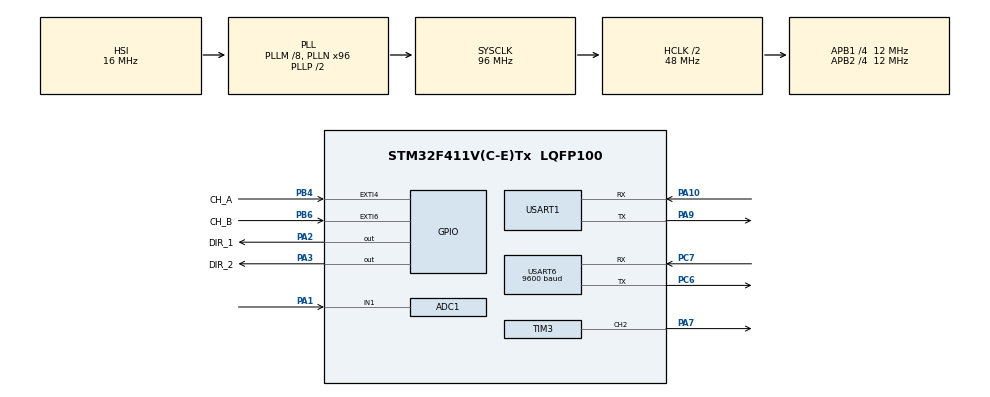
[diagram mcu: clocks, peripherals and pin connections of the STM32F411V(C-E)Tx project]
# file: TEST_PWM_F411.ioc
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ADC1.Channel-1\#ChannelRegularConversion=ADC_CHANNEL_1
ADC1.NbrOfConversionFlag=1
ADC1.Rank-1\#ChannelRegularConversion=1
ADC1.SamplingTime-1\#ChannelRegularConversion=ADC_SAMPLETIME_3CYCLES
ADC1.master=1
Mcu.Family=STM32F4
Mcu.Name=STM32F411V(C-E)Tx
Mcu.Package=LQFP100
NVIC.EXTI4_IRQn=true\:0\:0\:false\:false\:true\:true\:true\:true
NVIC.EXTI9_5_IRQn=true\:0\:0\:false\:false\:true\:true\:true\:true
NVIC.PriorityGroup=NVIC_PRIORITYGROUP_4
NVIC.TIM2_IRQn=true\:0\:0\:false\:false\:true\:true\:true\:true
NVIC.TIM4_IRQn=true\:0\:0\:false\:false\:true\:true\:true\:true
NVIC.USART6_IRQn=true\:0\:0\:false\:false\:true\:true\:true\:true
PA1.Signal=ADCx_IN1
PA10.Mode=Asynchronous
PA10.Signal=USART1_RX
PA13.Mode=Serial_Wire
PA13.Signal=SYS_JTMS-SWDIO
PA14.Mode=Serial_Wire
PA14.Signal=SYS_JTCK-SWCLK
PA2.GPIO_Label=DIR_1
PA2.Signal=GPIO_Output
PA3.GPIO_Label=DIR_2
PA3.Signal=GPIO_Output
PA7.Signal=S_TIM3_CH2
PA9.Mode=Asynchronous
PA9.Signal=USART1_TX
PB4.GPIO_Label=CH_A
PB4.GPIO_ModeDefaultEXTI=GPIO_MODE_IT_RISING_FALLING
PB4.Signal=GPXTI4
PB6.GPIO_Label=CH_B
PB6.GPIO_ModeDefaultEXTI=GPIO_MODE_IT_RISING_FALLING
PB6.Signal=GPXTI6
PC6.Mode=Asynchronous
PC6.Signal=USART6_TX
PC7.Mode=Asynchronous
PC7.Signal=USART6_RX
PH0\ -\ OSC_IN.Mode=HSE-External-Oscillator
PH0\ -\ OSC_IN.Signal=RCC_OSC_IN
PH1\ -\ OSC_OUT.Mode=HSE-External-Oscillator
PH1\ -\ OSC_OUT.Signal=RCC_OSC_OUT
ProjectManager.HeapSize=0x200
ProjectManager.StackSize=0x400
ProjectManager.TargetToolchain=MDK-ARM V5
RCC.48MHZClocksFreq_Value=48000000
RCC.AHBCLKDivider=RCC_SYSCLK_DIV2
RCC.AHBFreq_Value=48000000
RCC.APB1CLKDivider=RCC_HCLK_DIV4
RCC.APB1Freq_Value=12000000
RCC.APB1TimFreq_Value=24000000
RCC.APB2CLKDivider=RCC_HCLK_DIV4
RCC.APB2Freq_Value=12000000
RCC.APB2TimFreq_Value=24000000
RCC.CortexFreq_Value=48000000
RCC.HCLKFreq_Value=48000000
RCC.HSE_VALUE=25000000
RCC.HSI_VALUE=16000000
RCC.LSE_VALUE=32768
RCC.PLLM=8
RCC.PLLN=96
RCC.SYSCLKFreq_VALUE=96000000
RCC.SYSCLKSource=RCC_SYSCLKSOURCE_PLLCLK
RCC.VCOOutputFreq_Value=192000000
SH.ADCx_IN1.0=ADC1_IN1,IN1
SH.S_TIM3_CH2.0=TIM3_CH2,PWM Generation2 CH2
TIM2.Period=4
TIM2.Prescaler=23999
TIM3.Channel-PWM\ Generation2\ CH2=TIM_CHANNEL_2
TIM3.Period=100
TIM3.Prescaler=11
TIM4.Period=9999
TIM4.Prescaler=1199
USART1.VirtualMode=VM_ASYNC
USART6.BaudRate=9600
USART6.VirtualMode=VM_ASYNC
VP_TIM2_VS_ClockSourceINT.Mode=Internal
VP_TIM4_VS_ClockSourceINT.Mode=Internal
board=custom

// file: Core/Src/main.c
/* USER CODE BEGIN Header */
/**
  ******************************************************************************
  * @file           : main.c
  * @brief          : Main program body
  ******************************************************************************
  * @attention
  *
  * Copyright (c) 2024 STMicroelectronics.
  * All rights reserved.
  *
  * This software is licensed under terms that can be found in the LICENSE file
  * in the root directory of this software component.
  * If no LICENSE file comes with this software, it is provided AS-IS.
  *
  ******************************************************************************
  */
/* USER CODE END Header */
#include "main.h"

/* USER CODE BEGIN Includes */
#include "DC_Driver.h"
#include "stdio.h"
/* USER CODE END Includes */

/* USER CODE BEGIN PD */
int pwm;
uint32_t adc;
/* USER CODE END PD */

ADC_HandleTypeDef hadc1;

TIM_HandleTypeDef htim2;
TIM_HandleTypeDef htim3;
TIM_HandleTypeDef htim4;

UART_HandleTypeDef huart1;
UART_HandleTypeDef huart6;

/* USER CODE BEGIN PV */
struct __FILE
{
  int handle;
  /* Whatever you require here. If the only file you are using is */
  /* standard output using printf() for debugging, no file handling */
  /* is required. */
};
/* FILE is typedefТd in stdio.h. */
FILE __stdout;
int fputc(int ch, FILE *f)
{
  HAL_UART_Transmit(&huart6, (uint8_t *)&ch, 1, 100);
  return ch;
}
/* USER CODE END PV */

void SystemClock_Config(void);
static void MX_GPIO_Init(void);
static void MX_TIM3_Init(void);
static void MX_TIM2_Init(void);
static void MX_USART6_UART_Init(void);
static void MX_TIM4_Init(void);
static void MX_USART1_UART_Init(void);
static void MX_ADC1_Init(void);
/* USER CODE BEGIN PFP */
pid_specifications pidSpeed;

void HAL_TIM_PeriodElapsedCallback(TIM_HandleTypeDef *htim)
{
 if(htim->Instance == htim2.Instance) {
//	if(pidSpeed.real_position < 1000) {
//		control_motor_follow_vel_and_pos(&pidSpeed, 15, 10, 0);
//	} else {
//		control_motor_follow_vel_and_pos(&pidSpeed, 0, 10, 0);
//	}
//		static int i = 0;
//		if(i == 10) {
//			i = 10;
//		}else {
//			i++;
//		}
	 caculate_position(&pidSpeed);
	 control_motor_follow_vel_and_pos(&pidSpeed, pwm);
 }
 if(htim->Instance == htim4.Instance) {
		printf("%0.0f ", pidSpeed.real_velocity);
	 printf("%0.0f\n", pidSpeed.real_position);

 }
}

/* USER CODE END PFP */

int main(void)
{

  /* MCU Configuration--------------------------------------------------------*/

  /* Reset of all peripherals, Initializes the Flash interface and the Systick. */
  HAL_Init();

  /* Configure the system clock */
  SystemClock_Config();

  /* Initialize all configured peripherals */
  MX_GPIO_Init();
  MX_TIM3_Init();
  MX_TIM2_Init();
  MX_USART6_UART_Init();
  MX_TIM4_Init();
  MX_USART1_UART_Init();
  MX_ADC1_Init();
  /* USER CODE BEGIN 2 */
	HAL_TIM_PWM_Start(&htim3, TIM_CHANNEL_2);
  HAL_TIM_Base_Start_IT(&htim2);
	HAL_TIM_Base_Start_IT(&htim4);

	pid_init(&pidSpeed,0.01, 0.328, 0.298, 0.01, 0.005, 100, 0, 20);

//		HAL_GPIO_WritePin(DIR_1_GPIO_Port, DIR_1_Pin, GPIO_PIN_SET);
//		HAL_GPIO_WritePin(DIR_2_GPIO_Port, DIR_2_Pin, GPIO_PIN_RESET);
//		__HAL_TIM_SET_COMPARE(&htim3, TIM_CHANNEL_2, abs(100));
			//control_motor_follow_vel_and_pos(&pidSpeed, 10);
//			for(int i=10;i<=95;i+=1){
//			//control_motor_follow_vel_and_pos(&pidSpeed, i, -10, 0);
//				control_motor_follow_vel_and_pos(&pidSpeed, i);
//				HAL_Delay(100);
//			}
  /* USER CODE END 2 */

  /* Infinite loop */
  while (1)
  {

    /* USER CODE BEGIN 3 */
		HAL_ADC_Start(&hadc1);
		HAL_ADC_PollForConversion(&hadc1, 100);
		adc = HAL_ADC_GetValue(&hadc1);
		pwm = adc * 170 / 4095;
		HAL_ADC_Stop(&hadc1);

  }
  /* USER CODE END 3 */
}

void SystemClock_Config(void)
{
  RCC_OscInitTypeDef RCC_OscInitStruct = {0};
  RCC_ClkInitTypeDef RCC_ClkInitStruct = {0};

  /** Configure the main internal regulator output voltage
  */
  __HAL_RCC_PWR_CLK_ENABLE();
  __HAL_PWR_VOLTAGESCALING_CONFIG(PWR_REGULATOR_VOLTAGE_SCALE1);

  /** Initializes the RCC Oscillators according to the specified parameters
  * in the RCC_OscInitTypeDef structure.
  */
  RCC_OscInitStruct.OscillatorType = RCC_OSCILLATORTYPE_HSI;
  RCC_OscInitStruct.HSIState = RCC_HSI_ON;
  RCC_OscInitStruct.HSICalibrationValue = RCC_HSICALIBRATION_DEFAULT;
  RCC_OscInitStruct.PLL.PLLState = RCC_PLL_ON;
  RCC_OscInitStruct.PLL.PLLSource = RCC_PLLSOURCE_HSI;
  RCC_OscInitStruct.PLL.PLLM = 8;
  RCC_OscInitStruct.PLL.PLLN = 96;
  RCC_OscInitStruct.PLL.PLLP = RCC_PLLP_DIV2;
  RCC_OscInitStruct.PLL.PLLQ = 4;
  if (HAL_RCC_OscConfig(&RCC_OscInitStruct) != HAL_OK)
  {
    Error_Handler();
  }

  /** Initializes the CPU, AHB and APB buses clocks
  */
  RCC_ClkInitStruct.ClockType = RCC_CLOCKTYPE_HCLK|RCC_CLOCKTYPE_SYSCLK
                              |RCC_CLOCKTYPE_PCLK1|RCC_CLOCKTYPE_PCLK2;
  RCC_ClkInitStruct.SYSCLKSource = RCC_SYSCLKSOURCE_PLLCLK;
  RCC_ClkInitStruct.AHBCLKDivider = RCC_SYSCLK_DIV2;
  RCC_ClkInitStruct.APB1CLKDivider = RCC_HCLK_DIV4;
  RCC_ClkInitStruct.APB2CLKDivider = RCC_HCLK_DIV4;

  if (HAL_RCC_ClockConfig(&RCC_ClkInitStruct, FLASH_LATENCY_1) != HAL_OK)
  {
    Error_Handler();
  }
}

static void MX_ADC1_Init(void)
{

  ADC_ChannelConfTypeDef sConfig = {0};

  /** Configure the global features of the ADC (Clock, Resolution, Data Alignment and number of conversion)
  */
  hadc1.Instance = ADC1;
  hadc1.Init.ClockPrescaler = ADC_CLOCK_SYNC_PCLK_DIV2;
  hadc1.Init.Resolution = ADC_RESOLUTION_12B;
  hadc1.Init.ScanConvMode = DISABLE;
  hadc1.Init.ContinuousConvMode = DISABLE;
  hadc1.Init.DiscontinuousConvMode = DISABLE;
  hadc1.Init.ExternalTrigConvEdge = ADC_EXTERNALTRIGCONVEDGE_NONE;
  hadc1.Init.ExternalTrigConv = ADC_SOFTWARE_START;
  hadc1.Init.DataAlign = ADC_DATAALIGN_RIGHT;
  hadc1.Init.NbrOfConversion = 1;
  hadc1.Init.DMAContinuousRequests = DISABLE;
  hadc1.Init.EOCSelection = ADC_EOC_SINGLE_CONV;
  if (HAL_ADC_Init(&hadc1) != HAL_OK)
  {
    Error_Handler();
  }

  /** Configure for the selected ADC regular channel its corresponding rank in the sequencer and its sample time.
  */
  sConfig.Channel = ADC_CHANNEL_1;
  sConfig.Rank = 1;
  sConfig.SamplingTime = ADC_SAMPLETIME_3CYCLES;
  if (HAL_ADC_ConfigChannel(&hadc1, &sConfig) != HAL_OK)
  {
    Error_Handler();
  }

}

static void MX_TIM2_Init(void)
{

  TIM_ClockConfigTypeDef sClockSourceConfig = {0};
  TIM_MasterConfigTypeDef sMasterConfig = {0};

  htim2.Instance = TIM2;
  htim2.Init.Prescaler = 23999;
  htim2.Init.CounterMode = TIM_COUNTERMODE_UP;
  htim2.Init.Period = 4;
  htim2.Init.ClockDivision = TIM_CLOCKDIVISION_DIV1;
  htim2.Init.AutoReloadPreload = TIM_AUTORELOAD_PRELOAD_DISABLE;
  if (HAL_TIM_Base_Init(&htim2) != HAL_OK)
  {
    Error_Handler();
  }
  sClockSourceConfig.ClockSource = TIM_CLOCKSOURCE_INTERNAL;
  if (HAL_TIM_ConfigClockSource(&htim2, &sClockSourceConfig) != HAL_OK)
  {
    Error_Handler();
  }
  sMasterConfig.MasterOutputTrigger = TIM_TRGO_RESET;
  sMasterConfig.MasterSlaveMode = TIM_MASTERSLAVEMODE_DISABLE;
  if (HAL_TIMEx_MasterConfigSynchronization(&htim2, &sMasterConfig) != HAL_OK)
  {
    Error_Handler();
  }

}

static void MX_TIM3_Init(void)
{

  TIM_MasterConfigTypeDef sMasterConfig = {0};
  TIM_OC_InitTypeDef sConfigOC = {0};

  htim3.Instance = TIM3;
  htim3.Init.Prescaler = 11;
  htim3.Init.CounterMode = TIM_COUNTERMODE_UP;
  htim3.Init.Period = 100;
  htim3.Init.ClockDivision = TIM_CLOCKDIVISION_DIV1;
  htim3.Init.AutoReloadPreload = TIM_AUTORELOAD_PRELOAD_DISABLE;
  if (HAL_TIM_PWM_Init(&htim3) != HAL_OK)
  {
    Error_Handler();
  }
  sMasterConfig.MasterOutputTrigger = TIM_TRGO_RESET;
  sMasterConfig.MasterSlaveMode = TIM_MASTERSLAVEMODE_DISABLE;
  if (HAL_TIMEx_MasterConfigSynchronization(&htim3, &sMasterConfig) != HAL_OK)
  {
    Error_Handler();
  }
  sConfigOC.OCMode = TIM_OCMODE_PWM1;
  sConfigOC.Pulse = 0;
  sConfigOC.OCPolarity = TIM_OCPOLARITY_HIGH;
  sConfigOC.OCFastMode = TIM_OCFAST_DISABLE;
  if (HAL_TIM_PWM_ConfigChannel(&htim3, &sConfigOC, TIM_CHANNEL_2) != HAL_OK)
  {
    Error_Handler();
  }
  HAL_TIM_MspPostInit(&htim3);

}

static void MX_TIM4_Init(void)
{

  TIM_ClockConfigTypeDef sClockSourceConfig = {0};
  TIM_MasterConfigTypeDef sMasterConfig = {0};

  htim4.Instance = TIM4;
  htim4.Init.Prescaler = 1199;
  htim4.Init.CounterMode = TIM_COUNTERMODE_UP;
  htim4.Init.Period = 9999;
  htim4.Init.ClockDivision = TIM_CLOCKDIVISION_DIV1;
  htim4.Init.AutoReloadPreload = TIM_AUTORELOAD_PRELOAD_DISABLE;
  if (HAL_TIM_Base_Init(&htim4) != HAL_OK)
  {
    Error_Handler();
  }
  sClockSourceConfig.ClockSource = TIM_CLOCKSOURCE_INTERNAL;
  if (HAL_TIM_ConfigClockSource(&htim4, &sClockSourceConfig) != HAL_OK)
  {
    Error_Handler();
  }
  sMasterConfig.MasterOutputTrigger = TIM_TRGO_RESET;
  sMasterConfig.MasterSlaveMode = TIM_MASTERSLAVEMODE_DISABLE;
  if (HAL_TIMEx_MasterConfigSynchronization(&htim4, &sMasterConfig) != HAL_OK)
  {
    Error_Handler();
  }

}

static void MX_USART1_UART_Init(void)
{

  huart1.Instance = USART1;
  huart1.Init.BaudRate = 115200;
  huart1.Init.WordLength = UART_WORDLENGTH_8B;
  huart1.Init.StopBits = UART_STOPBITS_1;
  huart1.Init.Parity = UART_PARITY_NONE;
  huart1.Init.Mode = UART_MODE_TX_RX;
  huart1.Init.HwFlowCtl = UART_HWCONTROL_NONE;
  huart1.Init.OverSampling = UART_OVERSAMPLING_16;
  if (HAL_UART_Init(&huart1) != HAL_OK)
  {
    Error_Handler();
  }

}

static void MX_USART6_UART_Init(void)
{

  huart6.Instance = USART6;
  huart6.Init.BaudRate = 9600;
  huart6.Init.WordLength = UART_WORDLENGTH_8B;
  huart6.Init.StopBits = UART_STOPBITS_1;
  huart6.Init.Parity = UART_PARITY_NONE;
  huart6.Init.Mode = UART_MODE_TX_RX;
  huart6.Init.HwFlowCtl = UART_HWCONTROL_NONE;
  huart6.Init.OverSampling = UART_OVERSAMPLING_16;
  if (HAL_UART_Init(&huart6) != HAL_OK)
  {
    Error_Handler();
  }

}

static void MX_GPIO_Init(void)
{
  GPIO_InitTypeDef GPIO_InitStruct = {0};

  /* GPIO Ports Clock Enable */
  __HAL_RCC_GPIOH_CLK_ENABLE();
  __HAL_RCC_GPIOA_CLK_ENABLE();
  __HAL_RCC_GPIOC_CLK_ENABLE();
  __HAL_RCC_GPIOB_CLK_ENABLE();

  /*Configure GPIO pin Output Level */
  HAL_GPIO_WritePin(GPIOA, DIR_1_Pin|DIR_2_Pin, GPIO_PIN_RESET);

  /*Configure GPIO pins : DIR_1_Pin DIR_2_Pin */
  GPIO_InitStruct.Pin = DIR_1_Pin|DIR_2_Pin;
  GPIO_InitStruct.Mode = GPIO_MODE_OUTPUT_PP;
  GPIO_InitStruct.Pull = GPIO_NOPULL;
  GPIO_InitStruct.Speed = GPIO_SPEED_FREQ_LOW;
  HAL_GPIO_Init(GPIOA, &GPIO_InitStruct);

  /*Configure GPIO pins : CH_A_Pin CH_B_Pin */
  GPIO_InitStruct.Pin = CH_A_Pin|CH_B_Pin;
  GPIO_InitStruct.Mode = GPIO_MODE_IT_RISING_FALLING;
  GPIO_InitStruct.Pull = GPIO_NOPULL;
  HAL_GPIO_Init(GPIOB, &GPIO_InitStruct);

  /* EXTI interrupt init*/
  HAL_NVIC_SetPriority(EXTI4_IRQn, 0, 0);
  HAL_NVIC_EnableIRQ(EXTI4_IRQn);

  HAL_NVIC_SetPriority(EXTI9_5_IRQn, 0, 0);
  HAL_NVIC_EnableIRQ(EXTI9_5_IRQn);

}

void Error_Handler(void)
{
  __disable_irq();
  while (1)
  {
  }
}
